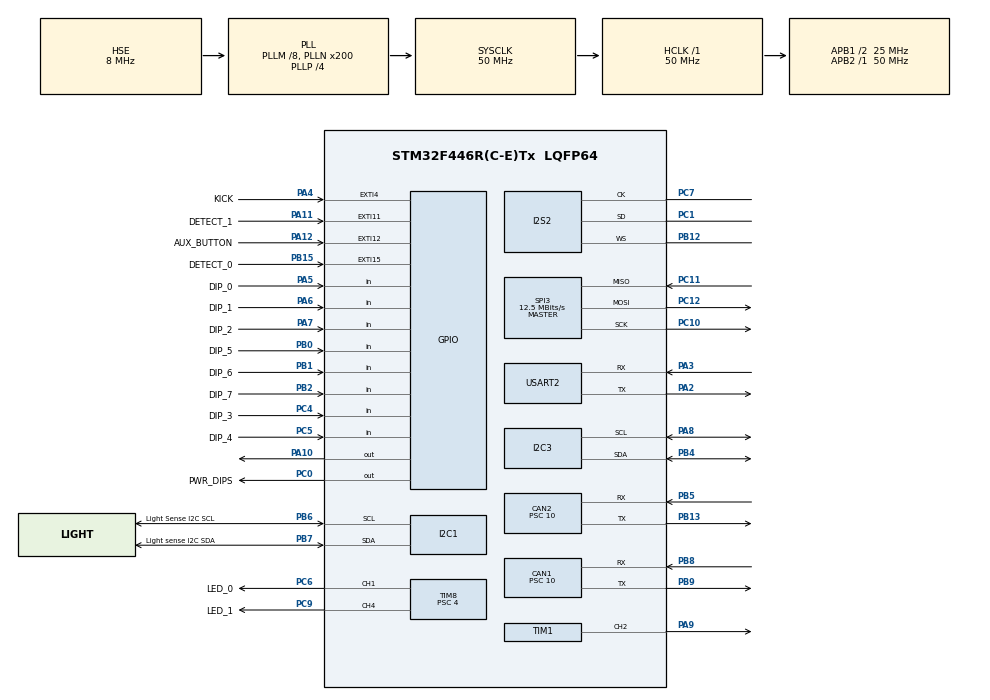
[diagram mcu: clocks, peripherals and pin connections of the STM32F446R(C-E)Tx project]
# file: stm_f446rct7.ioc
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CAN1.BS1=CAN_BS1_5TQ
CAN1.BS2=CAN_BS2_4TQ
CAN1.CalculateBaudRate=250000
CAN1.CalculateTimeBit=4000
CAN1.CalculateTimeQuantum=400.0
CAN1.Prescaler=10
CAN2.BS1=CAN_BS1_5TQ
CAN2.BS2=CAN_BS2_4TQ
CAN2.CalculateBaudRate=250000
CAN2.CalculateTimeBit=4000
CAN2.CalculateTimeQuantum=400.0
CAN2.Prescaler=10
I2S2.ErrorAudioFreq=0.0 %
I2S2.FullDuplexMode=I2S_FULLDUPLEXMODE_DISABLE
I2S2.Instance=SPI$Index
I2S2.RealAudioFreq=8.0 KHz
I2S2.VirtualMode=I2S_MODE_MASTER
Mcu.Family=STM32F4
Mcu.Name=STM32F446R(C-E)Tx
Mcu.Package=LQFP64
NVIC.CAN1_RX0_IRQn=true\:0\:0\:false\:false\:true\:true\:true\:true
NVIC.CAN1_RX1_IRQn=true\:0\:0\:false\:false\:true\:true\:true\:true
NVIC.CAN1_SCE_IRQn=true\:0\:0\:false\:false\:true\:true\:true\:true
NVIC.CAN1_TX_IRQn=true\:0\:0\:false\:false\:true\:true\:true\:true
NVIC.CAN2_RX0_IRQn=true\:0\:0\:false\:false\:true\:true\:true\:true
NVIC.CAN2_RX1_IRQn=true\:0\:0\:false\:false\:true\:true\:true\:true
NVIC.CAN2_SCE_IRQn=true\:0\:0\:false\:false\:true\:true\:true\:true
NVIC.CAN2_TX_IRQn=true\:0\:0\:false\:false\:true\:true\:true\:true
NVIC.EXTI15_10_IRQn=true\:0\:0\:false\:false\:true\:true\:true\:true
NVIC.EXTI4_IRQn=true\:0\:0\:false\:false\:true\:true\:true\:true
NVIC.PriorityGroup=NVIC_PRIORITYGROUP_4
PA10.Signal=GPIO_Output
PA11.GPIO_Label=DETECT_1
PA11.GPIO_PuPd=GPIO_PULLDOWN
PA11.Signal=GPXTI11
PA12.GPIO_Label=AUX_BUTTON
PA12.GPIO_ModeDefaultEXTI=GPIO_MODE_IT_FALLING
PA12.GPIO_PuPd=GPIO_PULLUP
PA12.Signal=GPXTI12
PA13.Mode=Trace_Asynchronous_SW
PA13.Signal=SYS_JTMS-SWDIO
PA14.Mode=Trace_Asynchronous_SW
PA14.Signal=SYS_JTCK-SWCLK
PA2.Mode=Asynchronous
PA2.Signal=USART2_TX
PA3.Mode=Asynchronous
PA3.Signal=USART2_RX
PA4.GPIO_Label=KICK
PA4.GPIO_ModeDefaultEXTI=GPIO_MODE_IT_RISING
PA4.GPIO_PuPd=GPIO_PULLDOWN
PA4.Signal=GPXTI4
PA5.GPIO_Label=DIP_0
PA5.Signal=GPIO_Input
PA6.GPIO_Label=DIP_1
PA6.Signal=GPIO_Input
PA7.GPIO_Label=DIP_2
PA7.Signal=GPIO_Input
PA8.Mode=I2C
PA8.Signal=I2C3_SCL
PA9.Signal=S_TIM1_CH2
PB0.GPIO_Label=DIP_5
PB0.Signal=GPIO_Input
PB1.GPIO_Label=DIP_6
PB1.Signal=GPIO_Input
PB12.Mode=Half_Duplex_Master
PB12.Signal=I2S2_WS
PB13.Mode=CAN_Activate
PB13.Signal=CAN2_TX
PB15.GPIO_Label=DETECT_0
PB15.GPIO_PuPd=GPIO_PULLDOWN
PB15.Signal=GPXTI15
PB2.GPIO_Label=DIP_7
PB2.Signal=GPIO_Input
PB3.Mode=Trace_Asynchronous_SW
PB3.Signal=SYS_JTDO-SWO
PB4.Mode=I2C
PB4.Signal=I2C3_SDA
PB5.Mode=CAN_Activate
PB5.Signal=CAN2_RX
PB6.GPIO_Label=Light Sense I2C SCL
PB6.Mode=I2C
PB6.Signal=I2C1_SCL
PB7.GPIO_Label=Light sense I2C SDA
PB7.Mode=I2C
PB7.Signal=I2C1_SDA
PB8.Mode=CAN_Activate
PB8.Signal=CAN1_RX
PB9.Mode=CAN_Activate
PB9.Signal=CAN1_TX
PC0.GPIO_Label=PWR_DIPS
PC0.Signal=GPIO_Output
PC1.Mode=Half_Duplex_Master
PC1.Signal=I2S2_SD
PC10.Mode=Full_Duplex_Master
PC10.Signal=SPI3_SCK
PC11.Mode=Full_Duplex_Master
PC11.Signal=SPI3_MISO
PC12.Mode=Full_Duplex_Master
PC12.Signal=SPI3_MOSI
PC14-OSC32_IN.Mode=LSE-External-Oscillator
PC14-OSC32_IN.Signal=RCC_OSC32_IN
PC15-OSC32_OUT.Mode=LSE-External-Oscillator
PC15-OSC32_OUT.Signal=RCC_OSC32_OUT
PC4.GPIO_Label=DIP_3
PC4.Signal=GPIO_Input
PC5.GPIO_Label=DIP_4
PC5.Signal=GPIO_Input
PC6.GPIO_Label=LED_0
PC6.Signal=S_TIM8_CH1
PC7.Mode=Half_Duplex_Master
PC7.Signal=I2S2_CK
PC9.GPIO_Label=LED_1
PC9.Signal=S_TIM8_CH4
PH0-OSC_IN.Mode=HSE-External-Oscillator
PH0-OSC_IN.Signal=RCC_OSC_IN
PH1-OSC_OUT.Mode=HSE-External-Oscillator
PH1-OSC_OUT.Signal=RCC_OSC_OUT
ProjectManager.HeapSize=0x200
ProjectManager.StackSize=0x400
ProjectManager.TargetToolchain=STM32CubeIDE
RCC.AHBFreq_Value=50000000
RCC.APB1CLKDivider=RCC_HCLK_DIV2
RCC.APB1Freq_Value=25000000
RCC.APB1TimFreq_Value=50000000
RCC.APB2Freq_Value=50000000
RCC.APB2TimFreq_Value=50000000
RCC.CortexFreq_Value=50000000
RCC.HCLKFreq_Value=50000000
RCC.HSE_VALUE=8000000
RCC.PLLI2SM=8
RCC.PLLM=8
RCC.PLLN=200
RCC.PLLP=RCC_PLLP_DIV4
RCC.PLLSourceVirtual=RCC_PLLSOURCE_HSE
RCC.SYSCLKFreq_VALUE=50000000
RCC.SYSCLKSource=RCC_SYSCLKSOURCE_PLLCLK
RCC.USBFreq_Value=100000000
RCC.VCOOutputFreq_Value=200000000
SH.S_TIM1_CH2.0=TIM1_CH2,PWM Generation2 CH2
SH.S_TIM8_CH1.0=TIM8_CH1,PWM Generation1 CH1
SH.S_TIM8_CH4.0=TIM8_CH4,PWM Generation4 CH4
SPI3.CalculateBaudRate=12.5 MBits/s
SPI3.Direction=SPI_DIRECTION_2LINES
SPI3.Mode=SPI_MODE_MASTER
SPI3.VirtualType=VM_MASTER
TIM1.Channel-PWM\ Generation2\ CH2=TIM_CHANNEL_2
TIM1.OCFastMode_PWM-PWM\ Generation2\ CH2=TIM_OCFAST_ENABLE
TIM1.Period=39999
TIM1.Prescaler=4
TIM8.Channel-PWM\ Generation1\ CH1=TIM_CHANNEL_1
TIM8.Channel-PWM\ Generation4\ CH4=TIM_CHANNEL_4
TIM8.OCFastMode_PWM-PWM\ Generation1\ CH1=TIM_OCFAST_ENABLE
TIM8.OCFastMode_PWM-PWM\ Generation4\ CH4=TIM_OCFAST_ENABLE
TIM8.Period=39999
TIM8.Prescaler=4
USART2.VirtualMode=VM_ASYNC
VP_TIM8_VS_ClockSourceINT.Mode=Internal
board=custom

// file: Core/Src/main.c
/* USER CODE BEGIN Header */
/**
 ******************************************************************************
 * @file           : main.c
 * @brief          : Main program body
 ******************************************************************************
 * @attention
 *
 * Copyright (c) 2025 STMicroelectronics.
 * All rights reserved.
 *
 * This software is licensed under terms that can be found in the LICENSE file
 * in the root directory of this software component.
 * If no LICENSE file comes with this software, it is provided AS-IS.
 *
 ******************************************************************************
 */
/* USER CODE END Header */
#include "main.h"

/* USER CODE BEGIN Includes */
#include <stdlib.h>
#include <stdio.h>
#include <string.h>

/* USER CODE END Includes */

CAN_HandleTypeDef hcan1;
CAN_HandleTypeDef hcan2;

I2C_HandleTypeDef hi2c1;
I2C_HandleTypeDef hi2c3;

I2S_HandleTypeDef hi2s2;

SPI_HandleTypeDef hspi3;

TIM_HandleTypeDef htim1;
TIM_HandleTypeDef htim8;

UART_HandleTypeDef huart2;

/* USER CODE BEGIN PV */
uint32_t light_timer;

/*CAN network variables-------------------------------------------------------*/
CAN_TxHeaderTypeDef TxHeader;
CAN_RxHeaderTypeDef RxHeader;

uint8_t TxData;
uint8_t RxData[1];

uint8_t address;

uint8_t dark_out_msg = 0x01;
uint8_t light_out_msg = 0x03;
uint8_t timer_rst_msg = 0x07;
uint8_t light_off_msg = 0x0F;
uint8_t detection_msg = 0xFF;

/*END CAN network variables---------------------------------------------------*/

/*Callback Flags--------------------------------------------------------------*/

/*CAN message flags*/
//uint8_t dark_out_flag;
//uint8_t light_out_flag;
uint8_t timer_rst_flag;
uint8_t light_off_flag;

/*Internal flags*/
uint8_t light_on;
uint8_t dark_outside;
//uint8_t ignore_det_msg;
uint8_t ignore_tim_rst_msg;
uint8_t vandalised;

/*Shared flags*/
uint8_t detection_flag;
/*END Callback Flags----------------------------------------------------------*/

/* USER CODE END PV */

void SystemClock_Config(void);
static void MX_GPIO_Init(void);
static void MX_CAN1_Init(void);
static void MX_CAN2_Init(void);
static void MX_I2C1_Init(void);
static void MX_I2C3_Init(void);
static void MX_I2S2_Init(void);
static void MX_SPI3_Init(void);
static void MX_TIM8_Init(void);
static void MX_USART2_UART_Init(void);
static void MX_TIM1_Init(void);
/* USER CODE BEGIN PFP */
//DEBUG: Write printf to UART2
int __io_putchar(int ch);
void leds_on(void);
void leds_off(void);
void OPT3002_set_conf(void);
uint16_t OPT3002_result(void);
uint8_t read_dip_address(void);
void HAL_GPIO_EXTI_Callback(uint16_t GPIO_Pin);
/* USER CODE END PFP */

/* USER CODE BEGIN 0 */

/* Configure CAN Callbacks----------------------------------------------------*/
//DELETE UNNECESARY CALLBACKS FOR FINAL REVIEW
void HAL_CAN_TxMailbox0CompleteCallback(CAN_HandleTypeDef *hcan) {
	printf("HAL_CAN_TxMailbox0CompleteCallback\n\r");
}

void HAL_CAN_TxMailbox1CompleteCallback(CAN_HandleTypeDef *hcan) {
	printf("HAL_CAN_TxMailbox1CompleteCallback\n\r");
}

void HAL_CAN_TxMailbox2CompleteCallback(CAN_HandleTypeDef *hcan) {
	printf("HAL_CAN_TxMailbox2CompleteCallback\n\r");
}

void HAL_CAN_TxMailbox0AbortCallback(CAN_HandleTypeDef *hcan) {
	printf("HAL_CAN_TxMailbox0AbortCallback\n\r");
}

void HAL_CAN_TxMailbox1AbortCallback(CAN_HandleTypeDef *hcan) {
	printf("HAL_CAN_TxMailbox1AbortCallback\n\r");
}

void HAL_CAN_TxMailbox2AbortCallback(CAN_HandleTypeDef *hcan) {
	printf("HAL_CAN_TxMailbox2AbortCallback\n\r");
}

void HAL_CAN_RxFifo0MsgPendingCallback(CAN_HandleTypeDef *hcan) {
	printf("HAL_CAN_RxFifo0MsgPendingCallback\n\r");
	if (HAL_CAN_GetRxMessage(hcan, CAN_RX_FIFO0, &RxHeader, RxData) == HAL_OK) {
//		printf("Message from: 0x%04lx: %02x\r\n", RxHeader.StdId, RxData[0]);

		switch (RxData[0]) {
		case 0xFF:
			if (light_on == 0) {
				detection_flag = 1;
			}
//			if (ignore_det_msg == 0) {
//				detection_flag = 1;
//			}
//			if (ignore_det_msg == 1) {
//				ignore_det_msg = 0;
//			}
			break;

		case 0x01:
			if (dark_outside == 0) {
				dark_outside = 1;
			}
//			dark_out_flag = 1;
			break;

		case 0x03:
			if (dark_outside == 1) {
				dark_outside = 0;
			}
//			light_out_flag = 1;
			break;

		case 0x07:
			if (ignore_tim_rst_msg == 0) {
				timer_rst_flag = 1;
			}
			if (ignore_tim_rst_msg == 1) {
				ignore_tim_rst_msg = 0;
			}
			break;

		case 0x0F:
			if (light_on) {
				light_off_flag = 1;
			}
			break;
		}
	}
}

void HAL_CAN_RxFifo0FullCallback(CAN_HandleTypeDef *hcan) {
	printf("HAL_CAN_RxFifo0FullCallback\n\r");
}

void HAL_CAN_RxFifo1MsgPendingCallback(CAN_HandleTypeDef *hcan) {
	printf("HAL_CAN_RxFifo1MsgPendingCallback\n\r");
}

void HAL_CAN_RxFifo1FullCallback(CAN_HandleTypeDef *hcan) {
	printf("HAL_CAN_RxFifo1FullCallback\n\r");
}

void HAL_CAN_SleepCallback(CAN_HandleTypeDef *hcan) {
	printf("HAL_CAN_SleepCallback\n\r");
}

void HAL_CAN_WakeUpFromRxMsgCallback(CAN_HandleTypeDef *hcan) {
	printf("HAL_CAN_WakeUpFromRxMsgCallback\n\r");
}

void HAL_CAN_ErrorCallback(CAN_HandleTypeDef *hcan) {
	printf("HAL_CAN_ErrorCallback\n\r");
}
/* End of CAN Callbacks-------------------------------------------------------*/

/* USER CODE END 0 */

int main(void) {

	/* MCU Configuration--------------------------------------------------------*/

	/* Reset of all peripherals, Initializes the Flash interface and the Systick. */
	HAL_Init();

	/* Configure the system clock */
	SystemClock_Config();

	/* Initialize all configured peripherals */
	MX_GPIO_Init();
	MX_CAN1_Init();
	MX_CAN2_Init();
	MX_I2C1_Init();
	MX_I2C3_Init();
	MX_I2S2_Init();
	MX_SPI3_Init();
	MX_TIM8_Init();
	MX_USART2_UART_Init();
	MX_TIM1_Init();
	/* USER CODE BEGIN 2 */

	printf("\r\n\r\nStarting main\r\n-------------\r\n");

	address = read_dip_address();

	/*Turn on PWM channels for driving the LED's--------------------------------*/
	HAL_TIM_PWM_Start(&htim1, TIM_CHANNEL_2); //test leds
	HAL_TIM_PWM_Start(&htim8, TIM_CHANNEL_1);
	HAL_TIM_PWM_Start(&htim8, TIM_CHANNEL_4);
	/*End of PWM channels initialization----------------------------------------*/

	/*CAN Filter Configuration--------------------------------------------------*/
	CAN_FilterTypeDef canfilterconfig;

	canfilterconfig.FilterBank = 0;
	canfilterconfig.FilterMode = CAN_FILTERMODE_IDLIST;
	canfilterconfig.FilterScale = CAN_FILTERSCALE_16BIT;

	canfilterconfig.FilterIdLow = ((address - 1) << 5);
	canfilterconfig.FilterIdHigh = ((address + 1) << 5);
	canfilterconfig.FilterMaskIdLow = 0;
	canfilterconfig.FilterMaskIdHigh = 0;

	canfilterconfig.FilterFIFOAssignment = CAN_RX_FIFO0;
	canfilterconfig.FilterActivation = ENABLE;
	canfilterconfig.SlaveStartFilterBank = 14;

	HAL_CAN_ConfigFilter(&hcan1, &canfilterconfig);

	HAL_CAN_Start(&hcan1);

	HAL_CAN_ActivateNotification(&hcan1,
	CAN_IT_TX_MAILBOX_EMPTY |
	CAN_IT_RX_FIFO0_MSG_PENDING |
	CAN_IT_RX_FIFO0_FULL |
	CAN_IT_RX_FIFO0_OVERRUN |
	CAN_IT_RX_FIFO1_MSG_PENDING |
	CAN_IT_RX_FIFO1_FULL |
	CAN_IT_RX_FIFO1_OVERRUN |
	CAN_IT_WAKEUP |
	CAN_IT_SLEEP_ACK |
	CAN_IT_ERROR_WARNING |
	CAN_IT_ERROR_PASSIVE |
	CAN_IT_BUSOFF |
	CAN_IT_LAST_ERROR_CODE |
	CAN_IT_ERROR);
	/*End CAN Filter Configuration----------------------------------------------*/

	TxHeader.DLC = 1;
	TxHeader.IDE = CAN_ID_STD;
	TxHeader.RTR = CAN_RTR_DATA;
	TxHeader.StdId = address;

	/* USER CODE END 2 */

	/* Infinite loop */
	while (1) {

		/* USER CODE BEGIN 3 */

		if (detection_flag == 1 && light_on == 0) {
			detection_flag = 0;
			light_on = 1;
//			ignore_det_msg = 1;

			leds_on();
			light_timer = uwTick;

			uint32_t mb1;
			if (HAL_CAN_AddTxMessage(&hcan1, &TxHeader, &detection_msg, &mb1)
					!= HAL_OK) {
				Error_Handler();
			}
		}

		if ((uwTick - light_timer > 10000 || light_off_flag == 1) && light_on == 1) {
			light_off_flag = 0;
			light_on = 0;

			uint32_t mb1;
			if (HAL_CAN_AddTxMessage(&hcan1, &TxHeader, &light_off_msg, &mb1)
					!= HAL_OK) {
				Error_Handler();
			}

			leds_off();
		}

	}
	/* USER CODE END 3 */
}

void SystemClock_Config(void) {
	RCC_OscInitTypeDef RCC_OscInitStruct = { 0 };
	RCC_ClkInitTypeDef RCC_ClkInitStruct = { 0 };

	/** Configure the main internal regulator output voltage
	 */
	__HAL_RCC_PWR_CLK_ENABLE();
	__HAL_PWR_VOLTAGESCALING_CONFIG(PWR_REGULATOR_VOLTAGE_SCALE3);

	/** Initializes the RCC Oscillators according to the specified parameters
	 * in the RCC_OscInitTypeDef structure.
	 */
	RCC_OscInitStruct.OscillatorType = RCC_OSCILLATORTYPE_HSE;
	RCC_OscInitStruct.HSEState = RCC_HSE_ON;
	RCC_OscInitStruct.PLL.PLLState = RCC_PLL_ON;
	RCC_OscInitStruct.PLL.PLLSource = RCC_PLLSOURCE_HSE;
	RCC_OscInitStruct.PLL.PLLM = 8;
	RCC_OscInitStruct.PLL.PLLN = 200;
	RCC_OscInitStruct.PLL.PLLP = RCC_PLLP_DIV4;
	RCC_OscInitStruct.PLL.PLLQ = 2;
	RCC_OscInitStruct.PLL.PLLR = 2;
	if (HAL_RCC_OscConfig(&RCC_OscInitStruct) != HAL_OK) {
		Error_Handler();
	}

	/** Initializes the CPU, AHB and APB buses clocks
	 */
	RCC_ClkInitStruct.ClockType = RCC_CLOCKTYPE_HCLK | RCC_CLOCKTYPE_SYSCLK
			| RCC_CLOCKTYPE_PCLK1 | RCC_CLOCKTYPE_PCLK2;
	RCC_ClkInitStruct.SYSCLKSource = RCC_SYSCLKSOURCE_PLLCLK;
	RCC_ClkInitStruct.AHBCLKDivider = RCC_SYSCLK_DIV1;
	RCC_ClkInitStruct.APB1CLKDivider = RCC_HCLK_DIV2;
	RCC_ClkInitStruct.APB2CLKDivider = RCC_HCLK_DIV1;

	if (HAL_RCC_ClockConfig(&RCC_ClkInitStruct, FLASH_LATENCY_1) != HAL_OK) {
		Error_Handler();
	}
}

static void MX_CAN1_Init(void) {

	hcan1.Instance = CAN1;
	hcan1.Init.Prescaler = 10;
	hcan1.Init.Mode = CAN_MODE_NORMAL;
	hcan1.Init.SyncJumpWidth = CAN_SJW_1TQ;
	hcan1.Init.TimeSeg1 = CAN_BS1_5TQ;
	hcan1.Init.TimeSeg2 = CAN_BS2_4TQ;
	hcan1.Init.TimeTriggeredMode = DISABLE;
	hcan1.Init.AutoBusOff = DISABLE;
	hcan1.Init.AutoWakeUp = DISABLE;
	hcan1.Init.AutoRetransmission = DISABLE;
	hcan1.Init.ReceiveFifoLocked = DISABLE;
	hcan1.Init.TransmitFifoPriority = DISABLE;
	if (HAL_CAN_Init(&hcan1) != HAL_OK) {
		Error_Handler();
	}

}

static void MX_CAN2_Init(void) {

	hcan2.Instance = CAN2;
	hcan2.Init.Prescaler = 10;
	hcan2.Init.Mode = CAN_MODE_NORMAL;
	hcan2.Init.SyncJumpWidth = CAN_SJW_1TQ;
	hcan2.Init.TimeSeg1 = CAN_BS1_5TQ;
	hcan2.Init.TimeSeg2 = CAN_BS2_4TQ;
	hcan2.Init.TimeTriggeredMode = DISABLE;
	hcan2.Init.AutoBusOff = DISABLE;
	hcan2.Init.AutoWakeUp = DISABLE;
	hcan2.Init.AutoRetransmission = DISABLE;
	hcan2.Init.ReceiveFifoLocked = DISABLE;
	hcan2.Init.TransmitFifoPriority = DISABLE;
	if (HAL_CAN_Init(&hcan2) != HAL_OK) {
		Error_Handler();
	}

}

static void MX_I2C1_Init(void) {

	hi2c1.Instance = I2C1;
	hi2c1.Init.ClockSpeed = 100000;
	hi2c1.Init.DutyCycle = I2C_DUTYCYCLE_2;
	hi2c1.Init.OwnAddress1 = 0;
	hi2c1.Init.AddressingMode = I2C_ADDRESSINGMODE_7BIT;
	hi2c1.Init.DualAddressMode = I2C_DUALADDRESS_DISABLE;
	hi2c1.Init.OwnAddress2 = 0;
	hi2c1.Init.GeneralCallMode = I2C_GENERALCALL_DISABLE;
	hi2c1.Init.NoStretchMode = I2C_NOSTRETCH_DISABLE;
	if (HAL_I2C_Init(&hi2c1) != HAL_OK) {
		Error_Handler();
	}

}

static void MX_I2C3_Init(void) {

	hi2c3.Instance = I2C3;
	hi2c3.Init.ClockSpeed = 100000;
	hi2c3.Init.DutyCycle = I2C_DUTYCYCLE_2;
	hi2c3.Init.OwnAddress1 = 0;
	hi2c3.Init.AddressingMode = I2C_ADDRESSINGMODE_7BIT;
	hi2c3.Init.DualAddressMode = I2C_DUALADDRESS_DISABLE;
	hi2c3.Init.OwnAddress2 = 0;
	hi2c3.Init.GeneralCallMode = I2C_GENERALCALL_DISABLE;
	hi2c3.Init.NoStretchMode = I2C_NOSTRETCH_DISABLE;
	if (HAL_I2C_Init(&hi2c3) != HAL_OK) {
		Error_Handler();
	}

}

static void MX_I2S2_Init(void) {

	hi2s2.Instance = SPI2;
	hi2s2.Init.Mode = I2S_MODE_MASTER_TX;
	hi2s2.Init.Standard = I2S_STANDARD_PHILIPS;
	hi2s2.Init.DataFormat = I2S_DATAFORMAT_16B;
	hi2s2.Init.MCLKOutput = I2S_MCLKOUTPUT_DISABLE;
	hi2s2.Init.AudioFreq = I2S_AUDIOFREQ_8K;
	hi2s2.Init.CPOL = I2S_CPOL_LOW;
	hi2s2.Init.ClockSource = I2S_CLOCK_PLL;
	hi2s2.Init.FullDuplexMode = I2S_FULLDUPLEXMODE_DISABLE;
	if (HAL_I2S_Init(&hi2s2) != HAL_OK) {
		Error_Handler();
	}

}

static void MX_SPI3_Init(void) {

	/* SPI3 parameter configuration*/
	hspi3.Instance = SPI3;
	hspi3.Init.Mode = SPI_MODE_MASTER;
	hspi3.Init.Direction = SPI_DIRECTION_2LINES;
	hspi3.Init.DataSize = SPI_DATASIZE_8BIT;
	hspi3.Init.CLKPolarity = SPI_POLARITY_LOW;
	hspi3.Init.CLKPhase = SPI_PHASE_1EDGE;
	hspi3.Init.NSS = SPI_NSS_SOFT;
	hspi3.Init.BaudRatePrescaler = SPI_BAUDRATEPRESCALER_2;
	hspi3.Init.FirstBit = SPI_FIRSTBIT_MSB;
	hspi3.Init.TIMode = SPI_TIMODE_DISABLE;
	hspi3.Init.CRCCalculation = SPI_CRCCALCULATION_DISABLE;
	hspi3.Init.CRCPolynomial = 10;
	if (HAL_SPI_Init(&hspi3) != HAL_OK) {
		Error_Handler();
	}

}

static void MX_TIM1_Init(void) {

	TIM_MasterConfigTypeDef sMasterConfig = { 0 };
	TIM_OC_InitTypeDef sConfigOC = { 0 };
	TIM_BreakDeadTimeConfigTypeDef sBreakDeadTimeConfig = { 0 };

	htim1.Instance = TIM1;
	htim1.Init.Prescaler = 4;
	htim1.Init.CounterMode = TIM_COUNTERMODE_UP;
	htim1.Init.Period = 39999;
	htim1.Init.ClockDivision = TIM_CLOCKDIVISION_DIV1;
	htim1.Init.RepetitionCounter = 0;
	htim1.Init.AutoReloadPreload = TIM_AUTORELOAD_PRELOAD_DISABLE;
	if (HAL_TIM_PWM_Init(&htim1) != HAL_OK) {
		Error_Handler();
	}
	sMasterConfig.MasterOutputTrigger = TIM_TRGO_RESET;
	sMasterConfig.MasterSlaveMode = TIM_MASTERSLAVEMODE_DISABLE;
	if (HAL_TIMEx_MasterConfigSynchronization(&htim1, &sMasterConfig)
			!= HAL_OK) {
		Error_Handler();
	}
	sConfigOC.OCMode = TIM_OCMODE_PWM1;
	sConfigOC.Pulse = 0;
	sConfigOC.OCPolarity = TIM_OCPOLARITY_HIGH;
	sConfigOC.OCNPolarity = TIM_OCNPOLARITY_HIGH;
	sConfigOC.OCFastMode = TIM_OCFAST_ENABLE;
	sConfigOC.OCIdleState = TIM_OCIDLESTATE_RESET;
	sConfigOC.OCNIdleState = TIM_OCNIDLESTATE_RESET;
	if (HAL_TIM_PWM_ConfigChannel(&htim1, &sConfigOC, TIM_CHANNEL_2)
			!= HAL_OK) {
		Error_Handler();
	}
	sBreakDeadTimeConfig.OffStateRunMode = TIM_OSSR_DISABLE;
	sBreakDeadTimeConfig.OffStateIDLEMode = TIM_OSSI_DISABLE;
	sBreakDeadTimeConfig.LockLevel = TIM_LOCKLEVEL_OFF;
	sBreakDeadTimeConfig.DeadTime = 0;
	sBreakDeadTimeConfig.BreakState = TIM_BREAK_DISABLE;
	sBreakDeadTimeConfig.BreakPolarity = TIM_BREAKPOLARITY_HIGH;
	sBreakDeadTimeConfig.AutomaticOutput = TIM_AUTOMATICOUTPUT_DISABLE;
	if (HAL_TIMEx_ConfigBreakDeadTime(&htim1, &sBreakDeadTimeConfig)
			!= HAL_OK) {
		Error_Handler();
	}
	HAL_TIM_MspPostInit(&htim1);

}

static void MX_TIM8_Init(void) {

	TIM_ClockConfigTypeDef sClockSourceConfig = { 0 };
	TIM_MasterConfigTypeDef sMasterConfig = { 0 };
	TIM_OC_InitTypeDef sConfigOC = { 0 };
	TIM_BreakDeadTimeConfigTypeDef sBreakDeadTimeConfig = { 0 };

	htim8.Instance = TIM8;
	htim8.Init.Prescaler = 4;
	htim8.Init.CounterMode = TIM_COUNTERMODE_UP;
	htim8.Init.Period = 39999;
	htim8.Init.ClockDivision = TIM_CLOCKDIVISION_DIV1;
	htim8.Init.RepetitionCounter = 0;
	htim8.Init.AutoReloadPreload = TIM_AUTORELOAD_PRELOAD_DISABLE;
	if (HAL_TIM_Base_Init(&htim8) != HAL_OK) {
		Error_Handler();
	}
	sClockSourceConfig.ClockSource = TIM_CLOCKSOURCE_INTERNAL;
	if (HAL_TIM_ConfigClockSource(&htim8, &sClockSourceConfig) != HAL_OK) {
		Error_Handler();
	}
	if (HAL_TIM_PWM_Init(&htim8) != HAL_OK) {
		Error_Handler();
	}
	sMasterConfig.MasterOutputTrigger = TIM_TRGO_RESET;
	sMasterConfig.MasterSlaveMode = TIM_MASTERSLAVEMODE_DISABLE;
	if (HAL_TIMEx_MasterConfigSynchronization(&htim8, &sMasterConfig)
			!= HAL_OK) {
		Error_Handler();
	}
	sConfigOC.OCMode = TIM_OCMODE_PWM1;
	sConfigOC.Pulse = 0;
	sConfigOC.OCPolarity = TIM_OCPOLARITY_HIGH;
	sConfigOC.OCNPolarity = TIM_OCNPOLARITY_HIGH;
	sConfigOC.OCFastMode = TIM_OCFAST_ENABLE;
	sConfigOC.OCIdleState = TIM_OCIDLESTATE_RESET;
	sConfigOC.OCNIdleState = TIM_OCNIDLESTATE_RESET;
	if (HAL_TIM_PWM_ConfigChannel(&htim8, &sConfigOC, TIM_CHANNEL_1)
			!= HAL_OK) {
		Error_Handler();
	}
	if (HAL_TIM_PWM_ConfigChannel(&htim8, &sConfigOC, TIM_CHANNEL_4)
			!= HAL_OK) {
		Error_Handler();
	}
	sBreakDeadTimeConfig.OffStateRunMode = TIM_OSSR_DISABLE;
	sBreakDeadTimeConfig.OffStateIDLEMode = TIM_OSSI_DISABLE;
	sBreakDeadTimeConfig.LockLevel = TIM_LOCKLEVEL_OFF;
	sBreakDeadTimeConfig.DeadTime = 0;
	sBreakDeadTimeConfig.BreakState = TIM_BREAK_DISABLE;
	sBreakDeadTimeConfig.BreakPolarity = TIM_BREAKPOLARITY_HIGH;
	sBreakDeadTimeConfig.AutomaticOutput = TIM_AUTOMATICOUTPUT_DISABLE;
	if (HAL_TIMEx_ConfigBreakDeadTime(&htim8, &sBreakDeadTimeConfig)
			!= HAL_OK) {
		Error_Handler();
	}
	HAL_TIM_MspPostInit(&htim8);

}

static void MX_USART2_UART_Init(void) {

	huart2.Instance = USART2;
	huart2.Init.BaudRate = 115200;
	huart2.Init.WordLength = UART_WORDLENGTH_8B;
	huart2.Init.StopBits = UART_STOPBITS_1;
	huart2.Init.Parity = UART_PARITY_NONE;
	huart2.Init.Mode = UART_MODE_TX_RX;
	huart2.Init.HwFlowCtl = UART_HWCONTROL_NONE;
	huart2.Init.OverSampling = UART_OVERSAMPLING_16;
	if (HAL_UART_Init(&huart2) != HAL_OK) {
		Error_Handler();
	}

}

static void MX_GPIO_Init(void) {
	GPIO_InitTypeDef GPIO_InitStruct = { 0 };

	/* GPIO Ports Clock Enable */
	__HAL_RCC_GPIOC_CLK_ENABLE();
	__HAL_RCC_GPIOH_CLK_ENABLE();
	__HAL_RCC_GPIOA_CLK_ENABLE();
	__HAL_RCC_GPIOB_CLK_ENABLE();

	/*Configure GPIO pin Output Level */
	HAL_GPIO_WritePin(PWR_DIPS_GPIO_Port, PWR_DIPS_Pin, GPIO_PIN_RESET);

	/*Configure GPIO pin Output Level */
	HAL_GPIO_WritePin(GPIOA, GPIO_PIN_10, GPIO_PIN_RESET);

	/*Configure GPIO pin : PWR_DIPS_Pin */
	GPIO_InitStruct.Pin = PWR_DIPS_Pin;
	GPIO_InitStruct.Mode = GPIO_MODE_OUTPUT_PP;
	GPIO_InitStruct.Pull = GPIO_NOPULL;
	GPIO_InitStruct.Speed = GPIO_SPEED_FREQ_LOW;
	HAL_GPIO_Init(PWR_DIPS_GPIO_Port, &GPIO_InitStruct);

	/*Configure GPIO pins : KICK_Pin DETECT_1_Pin */
	GPIO_InitStruct.Pin = KICK_Pin | DETECT_1_Pin;
	GPIO_InitStruct.Mode = GPIO_MODE_IT_RISING;
	GPIO_InitStruct.Pull = GPIO_PULLDOWN;
	HAL_GPIO_Init(GPIOA, &GPIO_InitStruct);

	/*Configure GPIO pins : DIP_0_Pin DIP_1_Pin DIP_2_Pin */
	GPIO_InitStruct.Pin = DIP_0_Pin | DIP_1_Pin | DIP_2_Pin;
	GPIO_InitStruct.Mode = GPIO_MODE_INPUT;
	GPIO_InitStruct.Pull = GPIO_NOPULL;
	HAL_GPIO_Init(GPIOA, &GPIO_InitStruct);

	/*Configure GPIO pins : DIP_3_Pin DIP_4_Pin */
	GPIO_InitStruct.Pin = DIP_3_Pin | DIP_4_Pin;
	GPIO_InitStruct.Mode = GPIO_MODE_INPUT;
	GPIO_InitStruct.Pull = GPIO_NOPULL;
	HAL_GPIO_Init(GPIOC, &GPIO_InitStruct);

	/*Configure GPIO pins : DIP_5_Pin DIP_6_Pin DIP_7_Pin */
	GPIO_InitStruct.Pin = DIP_5_Pin | DIP_6_Pin | DIP_7_Pin;
	GPIO_InitStruct.Mode = GPIO_MODE_INPUT;
	GPIO_InitStruct.Pull = GPIO_NOPULL;
	HAL_GPIO_Init(GPIOB, &GPIO_InitStruct);

	/*Configure GPIO pin : DETECT_0_Pin */
	GPIO_InitStruct.Pin = DETECT_0_Pin;
	GPIO_InitStruct.Mode = GPIO_MODE_IT_RISING;
	GPIO_InitStruct.Pull = GPIO_PULLDOWN;
	HAL_GPIO_Init(DETECT_0_GPIO_Port, &GPIO_InitStruct);

	/*Configure GPIO pin : PA10 */
	GPIO_InitStruct.Pin = GPIO_PIN_10;
	GPIO_InitStruct.Mode = GPIO_MODE_OUTPUT_PP;
	GPIO_InitStruct.Pull = GPIO_NOPULL;
	GPIO_InitStruct.Speed = GPIO_SPEED_FREQ_LOW;
	HAL_GPIO_Init(GPIOA, &GPIO_InitStruct);

	/*Configure GPIO pin : AUX_BUTTON_Pin */
	GPIO_InitStruct.Pin = AUX_BUTTON_Pin;
	GPIO_InitStruct.Mode = GPIO_MODE_IT_FALLING;
	GPIO_InitStruct.Pull = GPIO_PULLUP;
	HAL_GPIO_Init(AUX_BUTTON_GPIO_Port, &GPIO_InitStruct);

	/* EXTI interrupt init*/
	HAL_NVIC_SetPriority(EXTI4_IRQn, 0, 0);
	HAL_NVIC_EnableIRQ(EXTI4_IRQn);

	HAL_NVIC_SetPriority(EXTI15_10_IRQn, 0, 0);
	HAL_NVIC_EnableIRQ(EXTI15_10_IRQn);

}

/* USER CODE BEGIN 4 */

/*Write printf to UART2-------------------------------------------------------*/
// Useful for debugging, remove for final version.
int __io_putchar(int ch) {
	ITM_SendChar(ch);
	return ch;
}
/*END Write printf to UART2---------------------------------------------------*/

/*Read the mushrooms address from the DIP switches----------------------------*/
uint8_t read_dip_address(void) {
	uint8_t address = 0;

	HAL_GPIO_WritePin(GPIOC, GPIO_PIN_0, GPIO_PIN_SET);
	address |= HAL_GPIO_ReadPin(GPIOA, GPIO_PIN_5) << 7;
	address |= HAL_GPIO_ReadPin(GPIOA, GPIO_PIN_6) << 6;
	address |= HAL_GPIO_ReadPin(GPIOA, GPIO_PIN_7) << 5;
	address |= HAL_GPIO_ReadPin(GPIOC, GPIO_PIN_4) << 4;
	address |= HAL_GPIO_ReadPin(GPIOC, GPIO_PIN_5) << 3;
	address |= HAL_GPIO_ReadPin(GPIOB, GPIO_PIN_0) << 2;
	address |= HAL_GPIO_ReadPin(GPIOB, GPIO_PIN_1) << 1;
	address |= HAL_GPIO_ReadPin(GPIOB, GPIO_PIN_2);
	HAL_GPIO_WritePin(GPIOC, GPIO_PIN_0, GPIO_PIN_RESET);

	return address;
}
/*Read the mushrooms address from the DIP switches----------------------------*/

/*Set OPT3002 configuration register------------------------------------------*/
void OPT3002_set_conf(void) {
	uint8_t buf[3];
	uint8_t OPT3002_ADDR = 0x44 << 1;

	buf[0] = 0x01;
	buf[1] = 0xCE;
	buf[2] = 0x10;

	if (HAL_I2C_Master_Transmit(&hi2c1, OPT3002_ADDR, buf, 3, HAL_MAX_DELAY)
			!= HAL_OK) {
		OPT3002_set_conf();
	}
}
/*END Set OPT3002 configuration register--------------------------------------*/

/*Read OPT3002 result register and process data-------------------------------*/
uint16_t OPT3002_result(void) {
	uint8_t buf[2];
	uint8_t OPT3002_ADDR = 0x44 << 1;
	uint16_t licht = 0;

	buf[0] = 0x00;
	if (HAL_I2C_Master_Transmit(&hi2c1, OPT3002_ADDR, buf, 1, HAL_MAX_DELAY)
			!= HAL_OK) {
		printf("Error\r\n");
	} else {
		if (HAL_I2C_Master_Receive(&hi2c1, OPT3002_ADDR, buf, 2, HAL_MAX_DELAY)
				!= HAL_OK) {
			printf("Error\r\n");
		} else {
			licht = (2 ^ (buf[0] >> 4))
					* (((uint16_t) buf[0] & 0x0F) << 8 | (uint16_t) buf[1]);
			printf("Licht: %d\r\n", licht);
		}
	}

	return licht;
}
/*END Read OPT3002 result register and process data---------------------------*/

/*LED control functions-------------------------------------------------------*/
// Change to &htim8, TIM_CHANNEL_1 for module LED's
// Optimize with DMA?
void leds_on(void) {
	for (int i = 0; i < 200; i++) {
		__HAL_TIM_SET_COMPARE(&htim8, TIM_CHANNEL_1, i * i);
		__HAL_TIM_SET_COMPARE(&htim1, TIM_CHANNEL_2, i * i);
		HAL_Delay(3);
	}
}

void leds_off(void) {
	for (int i = 200; i > 0; i--) {
		__HAL_TIM_SET_COMPARE(&htim8, TIM_CHANNEL_1, i * i);
		__HAL_TIM_SET_COMPARE(&htim1, TIM_CHANNEL_2, i * i);
		HAL_Delay(30);
	}
}
/*END LED control functions---------------------------------------------------*/

/*GPIO Interrupt Callbacks----------------------------------------------------*/
void HAL_GPIO_EXTI_Callback(uint16_t GPIO_Pin) {
	if (GPIO_Pin == GPIO_PIN_12 || GPIO_Pin == GPIO_PIN_11
			|| GPIO_Pin == GPIO_PIN_15) {
		detection_flag = 1;
	}
}
/*GPIO Interrupt Callbacks----------------------------------------------------*/

/* USER CODE END 4 */

void Error_Handler(void) {
	__disable_irq();
	while (1) {
	}
}
